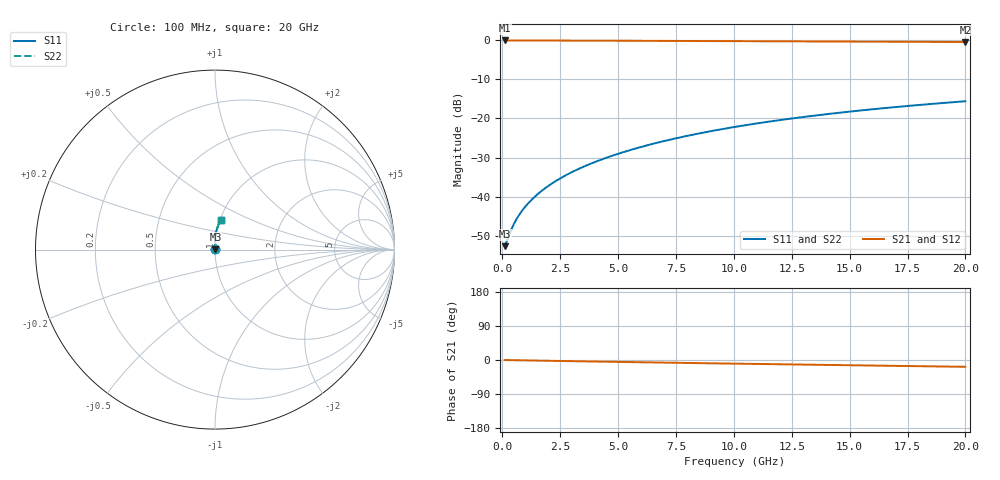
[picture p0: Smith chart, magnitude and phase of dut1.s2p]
! Touchstone file exported from HFSS 2024.1.0
!  File:  C:/UserFiles/LocalFiles/RDL_TSV_Batchsim/temp_RDL_top_1_1778679436.aedt
!  Generated:  09:40:02 PM May 13, 2026
!  Design:  RDL_top
!  Project:  temp_RDL_top_1_1778679436
!  Setup:  Setup1
!  Solution:  Sweep
! Variables:
!  dtsv = 10.80580581um
!  hbump = 3um
!  htsv = 74.27um
!  ldown = 100um
!  lrdl = 250.82um
!  p = 40
!  p1 = 41.05um
!  rhole = 1um
!  t = 450um
!  tdown = 3.915915916um
!  trdl = 2.09um
!  wdown = 15.38538539um
!  wrdl = 24.19um
# GHz S MA R 50.000000
! Terminal data exported
! Port[1] = Box2_T1
! Port[2] = Box2_T2
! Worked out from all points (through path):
!   200 points, 100 MHz to 20 GHz, reference 50 ohm
!   highest |S21| = -0.02 dB at 100 MHz (marker M1); lowest = -0.4 dB at 20 GHz (marker M2)
!   group delay of S21, straight-line fit = 2.47 ps
!   lowest |S11| = -52.7 dB at 100 MHz (marker M3), VSWR 1.00, Z = 50.2 + j0.0793 ohm
!   |S11| at or under -10 dB: start of sweep to end of sweep
!   |S22| runs from -52.7 to -15.6 dB; largest |S21 - S12| = 2.6e-15
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0.1  0.002316 19.9  0.9978 -0.1  0.9978 -0.1  0.002316 19.9
! Gamma 0 0 0 0
! Port Impedance 50 0 50 0
0.4  0.003846 51.7  0.9975 -0.4  0.9975 -0.4  0.003846 51.7
0.5  0.004448 56.5  0.9974 -0.5  0.9974 -0.5  0.004448 56.5
0.6  0.005052 60.1  0.9973 -0.6  0.9973 -0.6  0.005052 60.1
0.7  0.005656 63.0  0.9972 -0.8  0.9972 -0.8  0.005656 63.0
0.9  0.006862 67.4  0.997 -1.0  0.997 -1.0  0.006862 67.4
1.2  0.008692 72.2  0.9967 -1.3  0.9967 -1.3  0.008692 72.2
1.4  0.009934 74.6  0.9965 -1.5  0.9965 -1.5  0.009934 74.6
1.7  0.01183 77.5  0.9962 -1.8  0.9962 -1.8  0.01183 77.5
2.2  0.01509 80.9  0.9955 -2.3  0.9955 -2.3  0.01509 80.9
2.8  0.01914 83.7  0.9947 -2.9  0.9947 -2.9  0.01914 83.7
3.5  0.02406 85.9  0.9934 -3.6  0.9934 -3.6  0.02406 85.9
4.2  0.02918 87.4  0.9921 -4.3  0.9921 -4.3  0.02918 87.4
5  0.03528 88.5  0.9903 -5.0  0.9903 -5.0  0.03527 88.5
5.9  0.04241 89.2  0.9882 -5.9  0.9882 -5.9  0.04241 89.2
6.8  0.04982 89.5  0.986 -6.7  0.986 -6.7  0.04981 89.5
8.4  0.06348 89.2  0.9819 -8.2  0.9819 -8.2  0.06348 89.2
10.1  0.07847 88.2  0.9775 -9.7  0.9775 -9.7  0.07846 88.2
11.7  0.09279 87.0  0.9735 -11.1  0.9735 -11.1  0.09279 87.0
13.4  0.1081 85.4  0.9693 -12.5  0.9693 -12.5  0.1081 85.4
16.7  0.1375 82.2  0.9613 -15.3  0.9613 -15.3  0.1375 82.2
20  0.1662 78.9  0.9534 -18.0  0.9534 -18.0  0.1662 78.9
